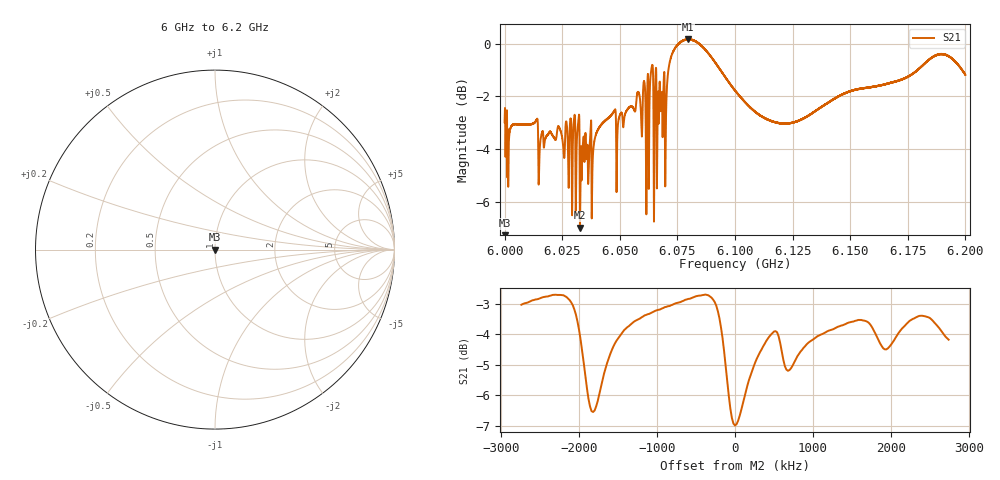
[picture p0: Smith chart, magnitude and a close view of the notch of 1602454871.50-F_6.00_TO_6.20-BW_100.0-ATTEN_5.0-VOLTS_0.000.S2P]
!Keysight Technologies,E5063A,MY54502693,A.05.04
!Date: Mon Oct 12 07:22:48 2020
!Data & Calibration Information:
!Freq	S11:NONE(--)	S21:NONE(--)	S12:NONE(--)	S22:NONE(--)
# Hz S RI R 50
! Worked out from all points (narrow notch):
!   10000 points, 6 GHz to 6.2 GHz, reference 50 ohm
!   highest |S21| = 0.18 dB at 6.0796 GHz (marker M1); lowest = -7.0 dB at 6.0327 GHz (marker M2)
!   notch at M2: 4.8 dB deep, 459 kHz wide at half that depth
!   lowest |S11| = - dB at 6 GHz (marker M3), VSWR 1.00, Z = 50 + j0 ohm
!   |S11| at or under -10 dB: start of sweep to end of sweep
!   S12 and S22 are empty: the file has one direction only
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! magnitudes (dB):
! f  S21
! 6 GHz  -3.0
! 6.0013 GHz  -4.1
! 6.0134 GHz  -3.0
! 6.0155 GHz  -3.7
! 6.0237 GHz  -3.2
! 6.0327 GHz  -7.0
! 6.0333 GHz  -5.0
! 6.0423 GHz  -3.0
! 6.058 GHz  -1.8
! 6.062 GHz  -1.4
! 6.0637 GHz  -1.0
! 6.0655 GHz  -1.2
! 6.0667 GHz  -2.2
! 6.0694 GHz  -1.3
! 6.073 GHz  -0.3
! 6.0796 GHz  0.2
! 6.1 GHz  -1.8
! 6.1168 GHz  -3.0
! 6.1334 GHz  -2.6
! 6.1667 GHz  -1.5
! 6.1889 GHz  -0.4
! 6.2 GHz  -1.2
